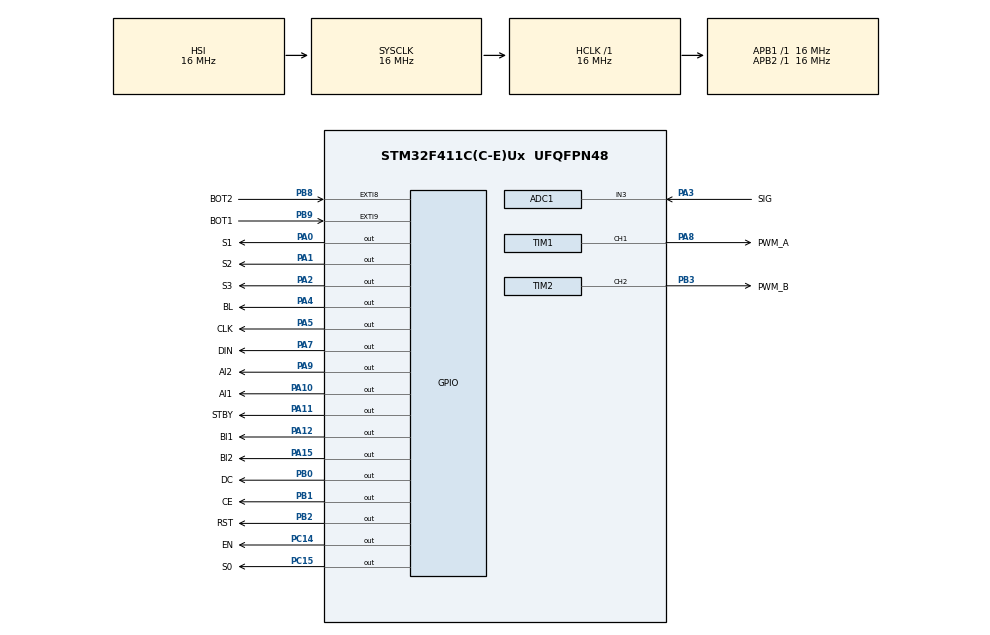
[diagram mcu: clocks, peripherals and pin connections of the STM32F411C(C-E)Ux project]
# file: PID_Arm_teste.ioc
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ADC1.Channel-0\#ChannelRegularConversion=ADC_CHANNEL_3
ADC1.NbrOfConversionFlag=1
ADC1.Rank-0\#ChannelRegularConversion=1
ADC1.SamplingTime-0\#ChannelRegularConversion=ADC_SAMPLETIME_3CYCLES
ADC1.master=1
Mcu.Family=STM32F4
Mcu.Name=STM32F411C(C-E)Ux
Mcu.Package=UFQFPN48
NVIC.EXTI9_5_IRQn=true\:0\:0\:false\:false\:true\:true\:true\:true
NVIC.PriorityGroup=NVIC_PRIORITYGROUP_4
NVIC.TIM4_IRQn=true\:0\:0\:false\:false\:true\:true\:true\:true
PA0-WKUP.GPIO_Label=S1
PA0-WKUP.Signal=GPIO_Output
PA1.GPIO_Label=S2
PA1.Signal=GPIO_Output
PA10.GPIO_Label=AI1
PA10.Signal=GPIO_Output
PA11.GPIO_Label=STBY
PA11.Signal=GPIO_Output
PA12.GPIO_Label=BI1
PA12.Signal=GPIO_Output
PA15.GPIO_Label=BI2
PA15.Signal=GPIO_Output
PA2.GPIO_Label=S3
PA2.Signal=GPIO_Output
PA3.GPIO_Label=SIG
PA3.Signal=ADCx_IN3
PA4.GPIO_Label=BL
PA4.Signal=GPIO_Output
PA5.GPIO_Label=CLK
PA5.Signal=GPIO_Output
PA7.GPIO_Label=DIN
PA7.Signal=GPIO_Output
PA8.GPIO_Label=PWM_A
PA8.Signal=S_TIM1_CH1
PA9.GPIO_Label=AI2
PA9.Signal=GPIO_Output
PB0.GPIO_Label=DC
PB0.Signal=GPIO_Output
PB1.GPIO_Label=CE
PB1.Signal=GPIO_Output
PB2.GPIO_Label=RST
PB2.Signal=GPIO_Output
PB3.GPIO_Label=PWM_B
PB3.Signal=S_TIM2_CH2
PB8.GPIO_Label=BOT2
PB8.Signal=GPXTI8
PB9.GPIO_Label=BOT1
PB9.Signal=GPXTI9
PC14-OSC32_IN.GPIO_Label=EN
PC14-OSC32_IN.Signal=GPIO_Output
PC15-OSC32_OUT.GPIO_Label=S0
PC15-OSC32_OUT.Signal=GPIO_Output
ProjectManager.HeapSize=0x200
ProjectManager.StackSize=0x400
ProjectManager.TargetToolchain=STM32CubeIDE
RCC.AHBFreq_Value=16000000
RCC.APB1Freq_Value=16000000
RCC.APB2Freq_Value=16000000
RCC.CortexFreq_Value=16000000
RCC.HSE_VALUE=25000000
RCC.HSI_VALUE=16000000
RCC.LSE_VALUE=32768
RCC.SYSCLKFreq_VALUE=16000000
RCC.VCOOutputFreq_Value=192000000
SH.ADCx_IN3.0=ADC1_IN3,IN3
SH.S_TIM1_CH1.0=TIM1_CH1,PWM Generation1 CH1
SH.S_TIM2_CH2.0=TIM2_CH2,PWM Generation2 CH2
TIM1.Channel-PWM\ Generation1\ CH1=TIM_CHANNEL_1
TIM1.Period=501
TIM1.Prescaler=15
TIM2.Channel-PWM\ Generation2\ CH2=TIM_CHANNEL_2
TIM2.Period=501
TIM2.Prescaler=15
TIM4.Period=0
TIM4.Prescaler=16000-1
VP_TIM1_VS_ClockSourceINT.Mode=Internal
VP_TIM2_VS_ClockSourceINT.Mode=Internal
VP_TIM4_VS_ClockSourceINT.Mode=Internal
board=custom

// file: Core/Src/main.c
/* USER CODE BEGIN Header */
/**
  ******************************************************************************
  * @file           : main.c
  * @brief          : Main program body
  ******************************************************************************
  * @attention
  *
  * Copyright (c) 2023 STMicroelectronics.
  * All rights reserved.
  *
  * This software is licensed under terms that can be found in the LICENSE file
  * in the root directory of this software component.
  * If no LICENSE file comes with this software, it is provided AS-IS.
  *
  ******************************************************************************
  */
/* USER CODE END Header */
#include "main.h"

/* USER CODE BEGIN Includes */
#include "nokia5110_LCD.h"
#include <stdio.h>
#include <stdlib.h>
#include <stdbool.h>

/* USER CODE END Includes */

ADC_HandleTypeDef hadc1;

TIM_HandleTypeDef htim1;
TIM_HandleTypeDef htim2;
TIM_HandleTypeDef htim4;

void SystemClock_Config(void);
static void MX_GPIO_Init(void);
static void MX_ADC1_Init(void);
static void MX_TIM1_Init(void);
static void MX_TIM2_Init(void);
static void MX_TIM4_Init(void);

/* USER CODE BEGIN 0 */

void ParaTrasMotorA();
void ParaTrasMotorB();
void ForwardMotorA();
void ForwardMotorB();
void Parar();

const int selecionarPino[4] = {S0_Pin, S1_Pin, S2_Pin, S3_Pin};

uint16_t valorSensor[16] = {0,0,0,0,0,0,0,0,0,0,0,0,0,0,0,0}; // Valores Analogico Sensores
int sensorDigital[16] = {0,0,0,0,0,0,0,0,0,0,0,0,0,0,0,0}; // Valores Digitais Sensores
int sensorDigitalAnterior[16] = {0,0,0,0,0,0,0,0,0,0,0,0,0,0,0,0};
uint16_t valorMedicao = 0;
bool auxiliarMedicao = false;
uint16_t corBranco[16] = {0,0,0,0,0,0,0,0,0,0,0,0,0,0,0,0}; // Para calibração cor branca
uint16_t corPreto[16] = {0,0,0,0,0,0,0,0,0,0,0,0,0,0,0,0}; // Para calibração cor preta
uint16_t mediaPB[16] ={0,0,0,0,0,0,0,0,0,0,0,0,0,0,0,0}; // Valor média calibração linha e chão
uint16_t peso[16] = {1500, 1400, 1300, 1200, 1100, 1000, 900, 800, 700, 600, 500, 400, 300, 200, 100, 0}; //vetor com os pesos
int16_t PWMA = 0;
int16_t PWMB = 0;
uint16_t pos = 0;
bool criterioParada = false;
int Kpid = 0;
int bufferParada =0;
uint16_t poslast = 0;
uint16_t posLastMax = 1500;
uint16_t posLastMin = 0;
uint16_t posMax = 1500;
uint16_t posMin = 0;
int linha = 1; // 0 -> Linha preta // 1-> Linha Branco
char Buffer[20];
/* Variáveis PID --
 * ------------------------------------------------------------------*/
int error=0; // Posição- (Maior peso)/2
//constantes PID
float Kp = 0.2;//
float Kd= 2.725;//
float Ki= 0.0225;//

//constantes auxiliares PID
uint16_t def_pos = 750;
int propo=0;
int deriv=0;
int integral=0;
int ultimoError=0;

float alpha = 0.1;
// Erro Integral
int erros[10] = {0, 0, 0, 0, 0,0,0,0,0,0};
int NUM_ERROS = 10;

//velocidades base
int16_t Velo1= 200; // Motor Direita
int16_t Velo2= 200; // Motor Esquerda
uint16_t velomax = 500;// CCR Máximo
uint16_t veloMin = 0;
int16_t somaA = 0;
int16_t somaB =0;

uint8_t estado = 0;

void HAL_GPIO_EXTI_Callback(uint16_t GPIO_Pin)
{
	if(GPIO_Pin == BOT1_Pin) // Ações ao apertar o botão 1
	{
		LCD_clrScr();

		if(estado == 0)
		{
			estado = 1;
			LCD_clrScr();
		}

		else if(estado == 1)
		{
			estado = 0;
			LCD_clrScr();
		}

	}
	if(GPIO_Pin == BOT2_Pin) // Ações ao apertar botão 2
	{

		estado = 2;
		LCD_clrScr();
		criterioParada = false;
		__HAL_TIM_SET_AUTORELOAD(&htim4, 15000-1);  // Reinicia o contador para zero

	}
	LCD_clrScr();
}

void HAL_TIM_PeriodElapsedCallback(TIM_HandleTypeDef *htim)
{
	if(htim->Instance == TIM4)
	{
		HAL_TIM_Base_Stop_IT(&htim4);
		criterioParada = true;
	}

}

void printValue(int value, int x, int y) {
    char Buffer[16];  // Tamanho adequado para os valores a serem exibidos
    sprintf(Buffer, "%d", value);  // Formata o valor como string
    LCD_print(Buffer, x, y);  // Exibe no LCD
}

void selecionarPinoMux(int pino)
{
	for(int i =0;i<4;i++)
	{
		if(i == 0)
		{
			if(pino & (1<<i))
			{
				HAL_GPIO_WritePin(GPIOC, selecionarPino[i], GPIO_PIN_SET);
			}
			else
			{
				HAL_GPIO_WritePin(GPIOC, selecionarPino[i], GPIO_PIN_RESET);
			}
		}
		else
		{
			if(pino & (1<<i))
			{
				HAL_GPIO_WritePin(GPIOA, selecionarPino[i], GPIO_PIN_SET);
			}
			else
			{
				HAL_GPIO_WritePin(GPIOA, selecionarPino[i], GPIO_PIN_RESET);
			}
		}

	}
}

void calibracao()
{
	if(!auxiliarMedicao)
	{
		for(int i = 0; i<6; i++)
			{
				selecionarPinoMux(i);
				HAL_ADC_Start(&hadc1);
				HAL_ADC_PollForConversion(&hadc1, HAL_MAX_DELAY);
				corBranco[5-i] = HAL_ADC_GetValue(&hadc1);
			}
			for(int j = 10; j<16; j++ )
			{
				selecionarPinoMux(j);
				HAL_ADC_Start(&hadc1);
				HAL_ADC_PollForConversion(&hadc1, HAL_MAX_DELAY);
				corBranco[25-j] = HAL_ADC_GetValue(&hadc1);
			}
			for(int k = 6; k<10; k++)
			{
				selecionarPinoMux(k);
				HAL_ADC_Start(&hadc1);
				HAL_ADC_PollForConversion(&hadc1, HAL_MAX_DELAY);
				corBranco[k] = HAL_ADC_GetValue(&hadc1);
			}
			auxiliarMedicao = true;
	}
	else
	{
		for(int i = 0; i<6; i++)
		{
				selecionarPinoMux(i);
				HAL_ADC_Start(&hadc1);
				HAL_ADC_PollForConversion(&hadc1, HAL_MAX_DELAY);
				valorMedicao = HAL_ADC_GetValue(&hadc1);
				if(valorMedicao > corPreto[5-i])
				{
					corPreto[5-i] = valorMedicao;
				}
				if(valorMedicao < corBranco[5-i])
				{
					corBranco[5-i] = valorMedicao;
				}
		}
		for(int j = 10; j<16; j++ )
		{
			selecionarPinoMux(j);
			HAL_ADC_Start(&hadc1);
			HAL_ADC_PollForConversion(&hadc1, HAL_MAX_DELAY);
			valorMedicao = HAL_ADC_GetValue(&hadc1);
			if(valorMedicao > corPreto[25-j])
			{
				corPreto[25-j] = valorMedicao;
			}
			if(valorMedicao < corBranco[25-j])
			{
				corBranco[25-j] = valorMedicao;
			}
		}
		for(int k = 6; k<10; k++)
		{
			selecionarPinoMux(k);
			HAL_ADC_Start(&hadc1);
			HAL_ADC_PollForConversion(&hadc1, HAL_MAX_DELAY);
			valorMedicao = HAL_ADC_GetValue(&hadc1);
			if(valorMedicao > corPreto[k])
			{
				corPreto[k] = valorMedicao;
			}
			if(valorMedicao < corBranco[k])
			{
				corBranco[k] = valorMedicao;
			}

		}

	}
}

/*

void calibrarBranco() // Função de Medir a cor Branca
{
	for(int i = 0; i<6; i++)
	{
			selecionarPinoMux(i);
			HAL_ADC_Start(&hadc1);
			HAL_ADC_PollForConversion(&hadc1, HAL_MAX_DELAY);
			corBranco[5-i] = HAL_ADC_GetValue(&hadc1);
	}
	for(int j = 10; j<16; j++ )
	{
		selecionarPinoMux(j);
		HAL_ADC_Start(&hadc1);
		HAL_ADC_PollForConversion(&hadc1, HAL_MAX_DELAY);
		corBranco[25-j] = HAL_ADC_GetValue(&hadc1);
	}
	for(int k = 6; k<10; k++)
	{
		selecionarPinoMux(k);
		HAL_ADC_Start(&hadc1);
		HAL_ADC_PollForConversion(&hadc1, HAL_MAX_DELAY);
		corBranco[k] = HAL_ADC_GetValue(&hadc1);
	}
}

void calibrarPreto() // Função de medir a cor Preta
{
	for(int i = 0; i<6; i++)
	{
		selecionarPinoMux(i);
		HAL_ADC_Start(&hadc1);
		HAL_ADC_PollForConversion(&hadc1, HAL_MAX_DELAY);
		corPreto[5-i] = HAL_ADC_GetValue(&hadc1);
	}
	for(int j = 10; j<16; j++ )
	{
		selecionarPinoMux(j);
		HAL_ADC_Start(&hadc1);
		HAL_ADC_PollForConversion(&hadc1, HAL_MAX_DELAY);
		corPreto[25-j] = HAL_ADC_GetValue(&hadc1);
	}

	for(int k = 6; k<10; k++)
	{
		selecionarPinoMux(k);
		HAL_ADC_Start(&hadc1);
		HAL_ADC_PollForConversion(&hadc1, HAL_MAX_DELAY);
		corPreto[k] = HAL_ADC_GetValue(&hadc1);
	}
}

*/

void calcularMediaSensores() // Calculo Média das cores para calibração dos sensores
{
	for(int i = 0;i<16;i++)
	{
		mediaPB[i] = (corPreto[i]+ corBranco[i])/2;
	}
}

void aplicarCalibracao() // Determina os valores digitais dos sensores apos calibração
{
	for(int i = 0; i<6; i++)
	{
		selecionarPinoMux(i);
		HAL_ADC_Start(&hadc1);
		HAL_ADC_PollForConversion(&hadc1, HAL_MAX_DELAY);
		valorSensor[5-i] = HAL_ADC_GetValue(&hadc1);
		if(linha == 0)
		{
			if(valorSensor[5-i] <= mediaPB[5-i])
			{
				sensorDigital[5-i] = 0;
			}
			else
			{
				sensorDigital[5-i] = 1;
			}
		}
		if(linha == 1)
		{
			if(valorSensor[5-i] <= mediaPB[5-i])
			{
				sensorDigital[5-i] = 1;
			}
			else
			{
				sensorDigital[5-i] = 0;
			}
		}
	}
	for(int j = 10; j<16; j++ )
	{
		selecionarPinoMux(j);
		HAL_ADC_Start(&hadc1);
		HAL_ADC_PollForConversion(&hadc1, HAL_MAX_DELAY);
		valorSensor[25-j] = HAL_ADC_GetValue(&hadc1);
		if(linha == 0)
		{
			if(valorSensor[25-j] <= mediaPB[25-j])
			{
				sensorDigital[25-j] = 0;
			}
			else
			{
				sensorDigital[25-j] = 1;
			}
		}
		if(linha == 1)
		{
			if(valorSensor[25-j] <= mediaPB[25-j])
			{
				sensorDigital[25-j] = 1;
			}
			else
			{
				sensorDigital[25-j] = 0;
			}
		}
	}
	for(int k = 6; k<10; k++)
	{
		selecionarPinoMux(k);
		HAL_ADC_Start(&hadc1);
		HAL_ADC_PollForConversion(&hadc1, HAL_MAX_DELAY);
		valorSensor[k] = HAL_ADC_GetValue(&hadc1);
		if(linha == 0)
		{
			if(valorSensor[k] <= mediaPB[k])
			{
				sensorDigital[k] = 0;
			}
			else
			{
				sensorDigital[k] = 1;
			}
		}
		if(linha == 1)
		{
			if(valorSensor[k] <= mediaPB[k])
			{
				sensorDigital[k] = 1;
			}
			else
			{
				sensorDigital[k] = 0;
			}
		}
	}
}

void leituraLinha() // Retorna Valor da média ponderada para utilizar no PID
{
	    /*Definindo e resetando variaveis*/

	    int num = 0; // numerador
	    int den = 0; // denominador

	    for(int i = 0; i < 16; i++) {
	        // soma ponderada
	        num += sensorDigital[i] * peso[i];
	        den += sensorDigital[i];
	        sensorDigitalAnterior[i] = sensorDigital[i];
	    }

	    if (den != 0) {
	        pos = (num / den);
	    }
	    /*
	    else if(num == 0)
	    {
	    	pos = 0;
	    }
	    */
	    else
	    {
	        pos = poslast;
	    }

	    if(poslast<=posLastMin && pos==-1){
	      pos=posMin;
	    }
	    if(poslast>=posLastMax && pos==-1){
	      pos=posMax;
	    }
	    poslast = pos;

}

void PID(){
	/* Essa função atualiza os valores das variáveis PWMA e PWMB, as variáveis veloA e veloB forma a velocidade base

	 */
	error = (pos - def_pos);

	if(pos<=300)
	{
		somaA = 300;
		somaB = 400;
		//criterioParada = true;
		ParaTrasMotorA();

	}
	else if(pos>=1200)
	{
		somaA = 400;
		somaB = 300;
		//criterioParada = true;
		ParaTrasMotorB();
	}
	else
	{

		/*
		if(abs(error)> 600)
		{
			Kd = 1.1*Kd;
			Kp = 1.1*Kp;

		}
		else if(abs(error>500))
		{
			Kd = 1.05*Kd;
			Kp = 1.05*Kp;
		}
		else
		{
			Kp = 0.35;
			Kd= 2.245;
		}
		*/

		propo = Kp*error;                         //função proporcional

		//deriv = alpha * ((Kd * error) - (Kd * ultimoError)) + (1 - alpha) * deriv;

		deriv = Kd*(error) - (Kd*ultimoError);
		ultimoError=error;
		integral = 0;
		for (int i = NUM_ERROS-1; i > 0; i--) {
		 erros[i] = erros[i-1];
		 integral += Ki*erros[i];
		}
		erros[0] = error;
		integral += Ki*erros[0];

		Kpid = (propo)+(deriv)+(integral);

		ForwardMotorA();
		ForwardMotorB();
		// Valores funcional Velo12 = 200
		Velo1 = 200;
		Velo2 = 200;

		if((abs(erros[0])<100)&& (abs(erros[1])<100) && (abs(erros[2]) <100) && (abs(erros[3])<0) )
		{
			// Valores funcional Velo12 = 250
		 Velo1 = 250;
		 Velo2 = 250;

		}
		/*
		else
		{
			// Valores funcional Velo12 = 200
			Velo1 = 200;
			Velo2 = 200;
		}
		*/

		somaA = Velo1 - Kpid;
		if(somaA>velomax)
		{
		 somaA = velomax;
		}
		else if(somaA<0)
		{
		 somaA = veloMin;

		}

		somaB = Velo2 +Kpid;

		if(somaB >velomax)
		{
		 somaB = velomax;
		}
		else if(somaB<0)
		{

		 somaB = veloMin;
		}

		if(criterioParada)
		{

			    // Condição 1 - C
			    if (sensorDigital[0] && !sensorDigital[1] && !sensorDigital[2] && sensorDigital[4] && sensorDigital[5] &&
			        !sensorDigital[3] && !sensorDigital[6] && !sensorDigital[7] && !sensorDigital[8] &&
			        !sensorDigital[9] && !sensorDigital[10] && !sensorDigital[11] && !sensorDigital[12] &&
			        !sensorDigital[13] && !sensorDigital[14] && !sensorDigital[15]) {
			        Parar();
			    }

			    // Condição 2 - C
			    else if (sensorDigital[0] && !sensorDigital[1] && !sensorDigital[2] && sensorDigital[4] && sensorDigital[5] && sensorDigital[6] &&
			        !sensorDigital[3] && !sensorDigital[7] && !sensorDigital[8] &&
			        !sensorDigital[9] && !sensorDigital[10] && !sensorDigital[11] && !sensorDigital[12] &&
			        !sensorDigital[13] && !sensorDigital[14] && !sensorDigital[15]) {
			        Parar();
			    }

			    // Condição 3 - C
			    else if (sensorDigital[0] && sensorDigital[1] && !sensorDigital[2] && sensorDigital[5] && sensorDigital[6] &&
			        !sensorDigital[3] && !sensorDigital[4] && !sensorDigital[7] && !sensorDigital[8] &&
			        !sensorDigital[9] && !sensorDigital[10] && !sensorDigital[11] && !sensorDigital[12] &&
			        !sensorDigital[13] && !sensorDigital[14] && !sensorDigital[15]) {
			        Parar();
			    }

			    // Condição 4 - c
			    else if (sensorDigital[0] && sensorDigital[1] && !sensorDigital[2] && sensorDigital[5]
												   && sensorDigital[6] && !sensorDigital[7] &&
			        !sensorDigital[3] && !sensorDigital[4] && !sensorDigital[8] && !sensorDigital[9] &&
			        !sensorDigital[10] && !sensorDigital[11] && !sensorDigital[12] && !sensorDigital[13] &&
			        !sensorDigital[14] && !sensorDigital[15]) {
			        Parar();
			    }

			    // Condição 5 - C
			    else if (sensorDigital[0] && sensorDigital[1] && !sensorDigital[2] && !sensorDigital[3] &&
			        !sensorDigital[4] && sensorDigital[6] && sensorDigital[7] &&
			        sensorDigital[5] && !sensorDigital[8] && !sensorDigital[9] &&
			        !sensorDigital[10] && !sensorDigital[11] && !sensorDigital[12] &&
			        !sensorDigital[13] && !sensorDigital[14] && !sensorDigital[15]) {
			        Parar();
			    }

			    // Condição 6 -c
			    else if (sensorDigital[0] && sensorDigital[1] && !sensorDigital[2] && !sensorDigital[3] &&
			        !sensorDigital[4] && sensorDigital[6] && sensorDigital[7] &&
			        !sensorDigital[5] && !sensorDigital[8] && !sensorDigital[9] &&
			        !sensorDigital[10] && !sensorDigital[11] && !sensorDigital[12] &&
			        !sensorDigital[13] && !sensorDigital[14] && !sensorDigital[15]) {
			        Parar();
			    }

			    // Condição 7 - C
			    else if (sensorDigital[0] && sensorDigital[1] && sensorDigital[2] && !sensorDigital[3] &&
			        !sensorDigital[4] && sensorDigital[6] && sensorDigital[7] && !sensorDigital[8] &&
			        !sensorDigital[5] && !sensorDigital[9] && !sensorDigital[10] &&
			        !sensorDigital[11] && !sensorDigital[12] && !sensorDigital[13] &&
			        !sensorDigital[14] && !sensorDigital[15]) {
			        Parar();
			    }

			    // Condição 8 - C
			    else if (sensorDigital[0] && sensorDigital[1] && sensorDigital[2] && !sensorDigital[3] &&
			        sensorDigital[7] && sensorDigital[8] && !sensorDigital[4] &&
			        !sensorDigital[5] && sensorDigital[6] && !sensorDigital[9] &&
			        !sensorDigital[10] && !sensorDigital[11] && !sensorDigital[12] &&
			        !sensorDigital[13] && !sensorDigital[14] && !sensorDigital[15]) {
			        Parar();
			    }

			    // Condição 9 -  c
			    else if (sensorDigital[0] && sensorDigital[1] && sensorDigital[2] && !sensorDigital[3] &&
			        sensorDigital[8] && !sensorDigital[9] && !sensorDigital[4] &&
			        !sensorDigital[5] && !sensorDigital[6] && sensorDigital[7] &&
			        !sensorDigital[10] && !sensorDigital[11] && !sensorDigital[12] &&
			        !sensorDigital[13] && !sensorDigital[14] && !sensorDigital[15]) {
			        Parar();
			    }

			    // Condição 10 -c
			    else if (sensorDigital[0] && sensorDigital[1] && sensorDigital[2] && sensorDigital[3] &&
			        !sensorDigital[4] && sensorDigital[8] && sensorDigital[9] &&
			        !sensorDigital[5] && !sensorDigital[6] && sensorDigital[7] &&
			        !sensorDigital[10] && !sensorDigital[11] && !sensorDigital[12] &&
			        !sensorDigital[13] && !sensorDigital[14] && !sensorDigital[15]) {
			        Parar();
			    }

			    // Condição 11
			    else if (sensorDigital[0] && sensorDigital[1] && sensorDigital[2] && sensorDigital[3] &&
			        !sensorDigital[4] && sensorDigital[8] && sensorDigital[9] && !sensorDigital[10] &&
			        !sensorDigital[5] && !sensorDigital[6] && !sensorDigital[7] &&
			        !sensorDigital[11] && !sensorDigital[12] && !sensorDigital[13] &&
			        !sensorDigital[14] && !sensorDigital[15]) {
			        Parar();
			    }

			    // Condição 12
			    else if (sensorDigital[0] && sensorDigital[1] && sensorDigital[2] && sensorDigital[3] &&
			        sensorDigital[4] && sensorDigital[9] && !sensorDigital[10] &&
			        !sensorDigital[5] && !sensorDigital[6] && !sensorDigital[7] &&
			        sensorDigital[8] && !sensorDigital[11] && !sensorDigital[12] &&
			        !sensorDigital[13] && !sensorDigital[14] && !sensorDigital[15]) {
			        Parar();
			    }

			    // Condição 13
			    else if (sensorDigital[1] && sensorDigital[2] && sensorDigital[3] && sensorDigital[4] &&
			        !sensorDigital[5] && sensorDigital[9] && sensorDigital[10] && !sensorDigital[11] &&
			        sensorDigital[0] && !sensorDigital[6] && !sensorDigital[7] &&
			        sensorDigital[8] && !sensorDigital[12] && !sensorDigital[13] &&
			        !sensorDigital[14] && !sensorDigital[15]) {
			        Parar();
			    }

			    // Condição 14
			    else if (sensorDigital[1] && sensorDigital[2] && sensorDigital[3] && sensorDigital[4] &&
			        !sensorDigital[5] && sensorDigital[9] && sensorDigital[10] && !sensorDigital[11] &&
			        sensorDigital[0] && !sensorDigital[6] && !sensorDigital[7] &&
			        !sensorDigital[8] && !sensorDigital[12] && !sensorDigital[13] &&
			        !sensorDigital[14] && !sensorDigital[15]) {
			        Parar();
			    }

			    // Condição 15
			    else if (sensorDigital[2] && sensorDigital[3] && sensorDigital[4] && sensorDigital[5] &&
			        sensorDigital[10] && sensorDigital[11] &&
			        !sensorDigital[0] && sensorDigital[1] && !sensorDigital[6] &&
			        !sensorDigital[7] && !sensorDigital[8] && sensorDigital[9] &&
			        !sensorDigital[12] && !sensorDigital[13] && !sensorDigital[14] &&
			        !sensorDigital[15]) {
			        Parar();
			    }
			    // Condição 16
			    else if (sensorDigital[2] && sensorDigital[3] && sensorDigital[4] && sensorDigital[5] &&
			        sensorDigital[10] && sensorDigital[11] &&
			        !sensorDigital[0] && sensorDigital[1] && !sensorDigital[6] &&
			        !sensorDigital[7] && !sensorDigital[8] && !sensorDigital[9] &&
			        !sensorDigital[12] && !sensorDigital[13] && !sensorDigital[14] &&
			        !sensorDigital[15]) {
			        Parar();
			    }
			    // Condição 17
			    else if (sensorDigital[2] && sensorDigital[3] && sensorDigital[4] && sensorDigital[5] &&
			        sensorDigital[10] && sensorDigital[11] &&
			        !sensorDigital[0] && !sensorDigital[1] && !sensorDigital[6] &&
			        !sensorDigital[7] && !sensorDigital[8] && !sensorDigital[9] &&
			        !sensorDigital[12] && !sensorDigital[13] && !sensorDigital[14] &&
			        !sensorDigital[15]) {
			        Parar();
			    }

		}

		/*
		else
		{
			for(int i = 0; i<=3 ; i++)
			{
				if(sensorDigital[i] && !sensorDigital[i+2]&& sensorDigital[i+6] && !sensorDigital[10] && !sensorDigital[11] && !sensorDigital[12] && !sensorDigital[13] && !sensorDigital[14] && !sensorDigital[15])
				{
					criterioParada = true;
				}
			}
			HAL_Delay(500);
		}
		*/

	}
	//Velo1 = abs((somaA+somaB)/2);
	//Velo2 = Velo1;

	PWMA = (somaA);
	PWMB = (somaB);

}

void Parar()
{
    HAL_GPIO_WritePin(STBY_GPIO_Port, STBY_Pin, GPIO_PIN_RESET);
	HAL_GPIO_WritePin(AI1_GPIO_Port,AI1_Pin, GPIO_PIN_RESET);
	HAL_GPIO_WritePin(AI2_GPIO_Port,AI2_Pin, GPIO_PIN_RESET);
	HAL_GPIO_WritePin(BI1_GPIO_Port,BI1_Pin, GPIO_PIN_RESET);
	HAL_GPIO_WritePin(BI2_GPIO_Port,BI2_Pin, GPIO_PIN_RESET);
	somaA =0;
	somaB =0;
	estado = 0;
	PWMA = (somaA);
	PWMB = (somaB);
}
void setPWM()
{

	TIM2->CCR2=  PWMA;
	TIM1->CCR1 = PWMB;

}

void ForwardMotorA() // Motor A-> Esquerda
{
	HAL_GPIO_WritePin(STBY_GPIO_Port,STBY_Pin, GPIO_PIN_SET);
	HAL_GPIO_WritePin(AI1_GPIO_Port,AI1_Pin, GPIO_PIN_SET);
	HAL_GPIO_WritePin(AI2_GPIO_Port,AI2_Pin, GPIO_PIN_RESET);
}

void ForwardMotorB() // Motor B-> Direita
{
	HAL_GPIO_WritePin(BI1_GPIO_Port,BI1_Pin, GPIO_PIN_SET);
	HAL_GPIO_WritePin(BI2_GPIO_Port,BI2_Pin, GPIO_PIN_RESET);
}

void ParaTrasMotorA()
{
	HAL_GPIO_WritePin(AI1_GPIO_Port,AI1_Pin, GPIO_PIN_RESET);
	HAL_GPIO_WritePin(AI2_GPIO_Port,AI2_Pin, GPIO_PIN_SET);
}

void ParaTrasMotorB()
{
	HAL_GPIO_WritePin(BI1_GPIO_Port,BI1_Pin, GPIO_PIN_RESET);
	HAL_GPIO_WritePin(BI2_GPIO_Port,BI2_Pin, GPIO_PIN_SET);
}

/* USER CODE END 0 */

int main(void)
{

  /* MCU Configuration--------------------------------------------------------*/

  /* Reset of all peripherals, Initializes the Flash interface and the Systick. */
  HAL_Init();

  /* USER CODE BEGIN Init */
  LCD_setRST(RST_GPIO_Port, RST_Pin);
  LCD_setCE(CE_GPIO_Port, CE_Pin);
  LCD_setDC(DC_GPIO_Port, DC_Pin);
  LCD_setDIN(DIN_GPIO_Port, DIN_Pin);
  LCD_setCLK(CLK_GPIO_Port, CLK_Pin);

  /* USER CODE END Init */

  /* Configure the system clock */
  SystemClock_Config();

  /* Initialize all configured peripherals */
  MX_GPIO_Init();
  MX_ADC1_Init();
  MX_TIM1_Init();
  MX_TIM2_Init();
  MX_TIM4_Init();
  /* USER CODE BEGIN 2 */
  LCD_init();

 // HAL_ADC_Start_DMA(&hadc1, &readValue, 1);
  HAL_TIM_PWM_Start(&htim2, TIM_CHANNEL_2);
  HAL_TIM_PWM_Start(&htim1, TIM_CHANNEL_1);
  HAL_GPIO_WritePin(EN_GPIO_Port,EN_Pin, GPIO_PIN_RESET); // EN do MUX como 0
  HAL_TIM_Base_Start_IT(&htim4);
  /* USER CODE END 2 */

  /* Infinite loop */
  while (1)
  {

    /* USER CODE BEGIN 3 */
	  switch(estado)
	  {
	  	 case 0:

	  		aplicarCalibracao();
	  		leituraLinha();
	  		PID();

	  		printValue(pos, 3, 0);
	  		printValue(PWMA, 3, 1);
	  		printValue(PWMB, 3, 2);
	  		printValue(error, 3, 3);

			LCD_clrScr();
		 break;

	  	 case 1:

	  		calibracao();

	  		calcularMediaSensores();
	  		aplicarCalibracao();

	  		sprintf(Buffer, "%d%d%d%d%d%d%d%d%d%d%d%d",
	  		    sensorDigital[11], sensorDigital[10], sensorDigital[9], sensorDigital[8],
	  		    sensorDigital[7], sensorDigital[6], sensorDigital[5], sensorDigital[4],
	  		    sensorDigital[3], sensorDigital[2], sensorDigital[1], sensorDigital[0]);

	  		LCD_print(Buffer, 0, 2);

	  		sprintf(Buffer, "%d%d%d%d",
	  		    sensorDigital[15], sensorDigital[14], sensorDigital[13], sensorDigital[12]);

	  		LCD_print(Buffer, 0, 1);

	  		/*
	  		LCD_print("Calibrar Preto", 0, 0);
	  		HAL_Delay(5000);
	  		calibrarPreto();
	  		LCD_clrScr();
	  		LCD_print("Calibrar Branco", 0, 0);
	  		HAL_Delay(5000);
	  		calibrarBranco();
	  		calcularMediaSensores();

	  		LCD_clrScr();
	  		LCD_print("Calibrado", 0, 0);
	  		aplicarCalibracao();
	  		estado = 0;
			*/
	  	break;

	  	case 2:
	  			//LCD_print("Começar andar", 0, 0);

	  			aplicarCalibracao();
	  		    leituraLinha();
	  		    PID();
	  		    setPWM();
	  		    //estado = 2;

	  	break;
	  }
  }
  /* USER CODE END 3 */
}

void SystemClock_Config(void)
{
  RCC_OscInitTypeDef RCC_OscInitStruct = {0};
  RCC_ClkInitTypeDef RCC_ClkInitStruct = {0};

  /** Configure the main internal regulator output voltage
  */
  __HAL_RCC_PWR_CLK_ENABLE();
  __HAL_PWR_VOLTAGESCALING_CONFIG(PWR_REGULATOR_VOLTAGE_SCALE1);

  /** Initializes the RCC Oscillators according to the specified parameters
  * in the RCC_OscInitTypeDef structure.
  */
  RCC_OscInitStruct.OscillatorType = RCC_OSCILLATORTYPE_HSI;
  RCC_OscInitStruct.HSIState = RCC_HSI_ON;
  RCC_OscInitStruct.HSICalibrationValue = RCC_HSICALIBRATION_DEFAULT;
  RCC_OscInitStruct.PLL.PLLState = RCC_PLL_NONE;
  if (HAL_RCC_OscConfig(&RCC_OscInitStruct) != HAL_OK)
  {
    Error_Handler();
  }

  /** Initializes the CPU, AHB and APB buses clocks
  */
  RCC_ClkInitStruct.ClockType = RCC_CLOCKTYPE_HCLK|RCC_CLOCKTYPE_SYSCLK
                              |RCC_CLOCKTYPE_PCLK1|RCC_CLOCKTYPE_PCLK2;
  RCC_ClkInitStruct.SYSCLKSource = RCC_SYSCLKSOURCE_HSI;
  RCC_ClkInitStruct.AHBCLKDivider = RCC_SYSCLK_DIV1;
  RCC_ClkInitStruct.APB1CLKDivider = RCC_HCLK_DIV1;
  RCC_ClkInitStruct.APB2CLKDivider = RCC_HCLK_DIV1;

  if (HAL_RCC_ClockConfig(&RCC_ClkInitStruct, FLASH_LATENCY_0) != HAL_OK)
  {
    Error_Handler();
  }
}

static void MX_ADC1_Init(void)
{

  ADC_ChannelConfTypeDef sConfig = {0};

  /** Configure the global features of the ADC (Clock, Resolution, Data Alignment and number of conversion)
  */
  hadc1.Instance = ADC1;
  hadc1.Init.ClockPrescaler = ADC_CLOCK_SYNC_PCLK_DIV2;
  hadc1.Init.Resolution = ADC_RESOLUTION_12B;
  hadc1.Init.ScanConvMode = DISABLE;
  hadc1.Init.ContinuousConvMode = DISABLE;
  hadc1.Init.DiscontinuousConvMode = DISABLE;
  hadc1.Init.ExternalTrigConvEdge = ADC_EXTERNALTRIGCONVEDGE_NONE;
  hadc1.Init.ExternalTrigConv = ADC_SOFTWARE_START;
  hadc1.Init.DataAlign = ADC_DATAALIGN_RIGHT;
  hadc1.Init.NbrOfConversion = 1;
  hadc1.Init.DMAContinuousRequests = DISABLE;
  hadc1.Init.EOCSelection = ADC_EOC_SINGLE_CONV;
  if (HAL_ADC_Init(&hadc1) != HAL_OK)
  {
    Error_Handler();
  }

  /** Configure for the selected ADC regular channel its corresponding rank in the sequencer and its sample time.
  */
  sConfig.Channel = ADC_CHANNEL_3;
  sConfig.Rank = 1;
  sConfig.SamplingTime = ADC_SAMPLETIME_3CYCLES;
  if (HAL_ADC_ConfigChannel(&hadc1, &sConfig) != HAL_OK)
  {
    Error_Handler();
  }

}

static void MX_TIM1_Init(void)
{

  TIM_ClockConfigTypeDef sClockSourceConfig = {0};
  TIM_MasterConfigTypeDef sMasterConfig = {0};
  TIM_OC_InitTypeDef sConfigOC = {0};
  TIM_BreakDeadTimeConfigTypeDef sBreakDeadTimeConfig = {0};

  htim1.Instance = TIM1;
  htim1.Init.Prescaler = 15;
  htim1.Init.CounterMode = TIM_COUNTERMODE_UP;
  htim1.Init.Period = 501;
  htim1.Init.ClockDivision = TIM_CLOCKDIVISION_DIV1;
  htim1.Init.RepetitionCounter = 0;
  htim1.Init.AutoReloadPreload = TIM_AUTORELOAD_PRELOAD_DISABLE;
  if (HAL_TIM_Base_Init(&htim1) != HAL_OK)
  {
    Error_Handler();
  }
  sClockSourceConfig.ClockSource = TIM_CLOCKSOURCE_INTERNAL;
  if (HAL_TIM_ConfigClockSource(&htim1, &sClockSourceConfig) != HAL_OK)
  {
    Error_Handler();
  }
  if (HAL_TIM_PWM_Init(&htim1) != HAL_OK)
  {
    Error_Handler();
  }
  sMasterConfig.MasterOutputTrigger = TIM_TRGO_RESET;
  sMasterConfig.MasterSlaveMode = TIM_MASTERSLAVEMODE_DISABLE;
  if (HAL_TIMEx_MasterConfigSynchronization(&htim1, &sMasterConfig) != HAL_OK)
  {
    Error_Handler();
  }
  sConfigOC.OCMode = TIM_OCMODE_PWM1;
  sConfigOC.Pulse = 0;
  sConfigOC.OCPolarity = TIM_OCPOLARITY_HIGH;
  sConfigOC.OCNPolarity = TIM_OCNPOLARITY_HIGH;
  sConfigOC.OCFastMode = TIM_OCFAST_DISABLE;
  sConfigOC.OCIdleState = TIM_OCIDLESTATE_RESET;
  sConfigOC.OCNIdleState = TIM_OCNIDLESTATE_RESET;
  if (HAL_TIM_PWM_ConfigChannel(&htim1, &sConfigOC, TIM_CHANNEL_1) != HAL_OK)
  {
    Error_Handler();
  }
  sBreakDeadTimeConfig.OffStateRunMode = TIM_OSSR_DISABLE;
  sBreakDeadTimeConfig.OffStateIDLEMode = TIM_OSSI_DISABLE;
  sBreakDeadTimeConfig.LockLevel = TIM_LOCKLEVEL_OFF;
  sBreakDeadTimeConfig.DeadTime = 0;
  sBreakDeadTimeConfig.BreakState = TIM_BREAK_DISABLE;
  sBreakDeadTimeConfig.BreakPolarity = TIM_BREAKPOLARITY_HIGH;
  sBreakDeadTimeConfig.AutomaticOutput = TIM_AUTOMATICOUTPUT_DISABLE;
  if (HAL_TIMEx_ConfigBreakDeadTime(&htim1, &sBreakDeadTimeConfig) != HAL_OK)
  {
    Error_Handler();
  }
  HAL_TIM_MspPostInit(&htim1);

}

static void MX_TIM2_Init(void)
{

  TIM_ClockConfigTypeDef sClockSourceConfig = {0};
  TIM_MasterConfigTypeDef sMasterConfig = {0};
  TIM_OC_InitTypeDef sConfigOC = {0};

  htim2.Instance = TIM2;
  htim2.Init.Prescaler = 15;
  htim2.Init.CounterMode = TIM_COUNTERMODE_UP;
  htim2.Init.Period = 501;
  htim2.Init.ClockDivision = TIM_CLOCKDIVISION_DIV1;
  htim2.Init.AutoReloadPreload = TIM_AUTORELOAD_PRELOAD_DISABLE;
  if (HAL_TIM_Base_Init(&htim2) != HAL_OK)
  {
    Error_Handler();
  }
  sClockSourceConfig.ClockSource = TIM_CLOCKSOURCE_INTERNAL;
  if (HAL_TIM_ConfigClockSource(&htim2, &sClockSourceConfig) != HAL_OK)
  {
    Error_Handler();
  }
  if (HAL_TIM_PWM_Init(&htim2) != HAL_OK)
  {
    Error_Handler();
  }
  sMasterConfig.MasterOutputTrigger = TIM_TRGO_RESET;
  sMasterConfig.MasterSlaveMode = TIM_MASTERSLAVEMODE_DISABLE;
  if (HAL_TIMEx_MasterConfigSynchronization(&htim2, &sMasterConfig) != HAL_OK)
  {
    Error_Handler();
  }
  sConfigOC.OCMode = TIM_OCMODE_PWM1;
  sConfigOC.Pulse = 0;
  sConfigOC.OCPolarity = TIM_OCPOLARITY_HIGH;
  sConfigOC.OCFastMode = TIM_OCFAST_DISABLE;
  if (HAL_TIM_PWM_ConfigChannel(&htim2, &sConfigOC, TIM_CHANNEL_2) != HAL_OK)
  {
    Error_Handler();
  }
  HAL_TIM_MspPostInit(&htim2);

}

static void MX_TIM4_Init(void)
{

  TIM_ClockConfigTypeDef sClockSourceConfig = {0};
  TIM_MasterConfigTypeDef sMasterConfig = {0};

  htim4.Instance = TIM4;
  htim4.Init.Prescaler = 16000-1;
  htim4.Init.CounterMode = TIM_COUNTERMODE_UP;
  htim4.Init.Period = 0;
  htim4.Init.ClockDivision = TIM_CLOCKDIVISION_DIV1;
  htim4.Init.AutoReloadPreload = TIM_AUTORELOAD_PRELOAD_DISABLE;
  if (HAL_TIM_Base_Init(&htim4) != HAL_OK)
  {
    Error_Handler();
  }
  sClockSourceConfig.ClockSource = TIM_CLOCKSOURCE_INTERNAL;
  if (HAL_TIM_ConfigClockSource(&htim4, &sClockSourceConfig) != HAL_OK)
  {
    Error_Handler();
  }
  sMasterConfig.MasterOutputTrigger = TIM_TRGO_RESET;
  sMasterConfig.MasterSlaveMode = TIM_MASTERSLAVEMODE_DISABLE;
  if (HAL_TIMEx_MasterConfigSynchronization(&htim4, &sMasterConfig) != HAL_OK)
  {
    Error_Handler();
  }

}

static void MX_GPIO_Init(void)
{
  GPIO_InitTypeDef GPIO_InitStruct = {0};

  /* GPIO Ports Clock Enable */
  __HAL_RCC_GPIOC_CLK_ENABLE();
  __HAL_RCC_GPIOA_CLK_ENABLE();
  __HAL_RCC_GPIOB_CLK_ENABLE();

  /*Configure GPIO pin Output Level */
  HAL_GPIO_WritePin(GPIOC, EN_Pin|S0_Pin, GPIO_PIN_RESET);

  /*Configure GPIO pin Output Level */
  HAL_GPIO_WritePin(GPIOA, S1_Pin|S2_Pin|S3_Pin|BL_Pin
                          |CLK_Pin|DIN_Pin|AI2_Pin|AI1_Pin
                          |STBY_Pin|BI1_Pin|BI2_Pin, GPIO_PIN_RESET);

  /*Configure GPIO pin Output Level */
  HAL_GPIO_WritePin(GPIOB, DC_Pin|CE_Pin|RST_Pin, GPIO_PIN_RESET);

  /*Configure GPIO pins : EN_Pin S0_Pin */
  GPIO_InitStruct.Pin = EN_Pin|S0_Pin;
  GPIO_InitStruct.Mode = GPIO_MODE_OUTPUT_PP;
  GPIO_InitStruct.Pull = GPIO_NOPULL;
  GPIO_InitStruct.Speed = GPIO_SPEED_FREQ_LOW;
  HAL_GPIO_Init(GPIOC, &GPIO_InitStruct);

  /*Configure GPIO pins : S1_Pin S2_Pin S3_Pin BL_Pin
                           CLK_Pin DIN_Pin AI2_Pin AI1_Pin
                           STBY_Pin BI1_Pin BI2_Pin */
  GPIO_InitStruct.Pin = S1_Pin|S2_Pin|S3_Pin|BL_Pin
                          |CLK_Pin|DIN_Pin|AI2_Pin|AI1_Pin
                          |STBY_Pin|BI1_Pin|BI2_Pin;
  GPIO_InitStruct.Mode = GPIO_MODE_OUTPUT_PP;
  GPIO_InitStruct.Pull = GPIO_NOPULL;
  GPIO_InitStruct.Speed = GPIO_SPEED_FREQ_LOW;
  HAL_GPIO_Init(GPIOA, &GPIO_InitStruct);

  /*Configure GPIO pins : DC_Pin CE_Pin RST_Pin */
  GPIO_InitStruct.Pin = DC_Pin|CE_Pin|RST_Pin;
  GPIO_InitStruct.Mode = GPIO_MODE_OUTPUT_PP;
  GPIO_InitStruct.Pull = GPIO_NOPULL;
  GPIO_InitStruct.Speed = GPIO_SPEED_FREQ_LOW;
  HAL_GPIO_Init(GPIOB, &GPIO_InitStruct);

  /*Configure GPIO pins : BOT2_Pin BOT1_Pin */
  GPIO_InitStruct.Pin = BOT2_Pin|BOT1_Pin;
  GPIO_InitStruct.Mode = GPIO_MODE_IT_RISING;
  GPIO_InitStruct.Pull = GPIO_NOPULL;
  HAL_GPIO_Init(GPIOB, &GPIO_InitStruct);

  /* EXTI interrupt init*/
  HAL_NVIC_SetPriority(EXTI9_5_IRQn, 0, 0);
  HAL_NVIC_EnableIRQ(EXTI9_5_IRQn);

}

void Error_Handler(void)
{
  __disable_irq();
  while (1)
  {
  }
}
